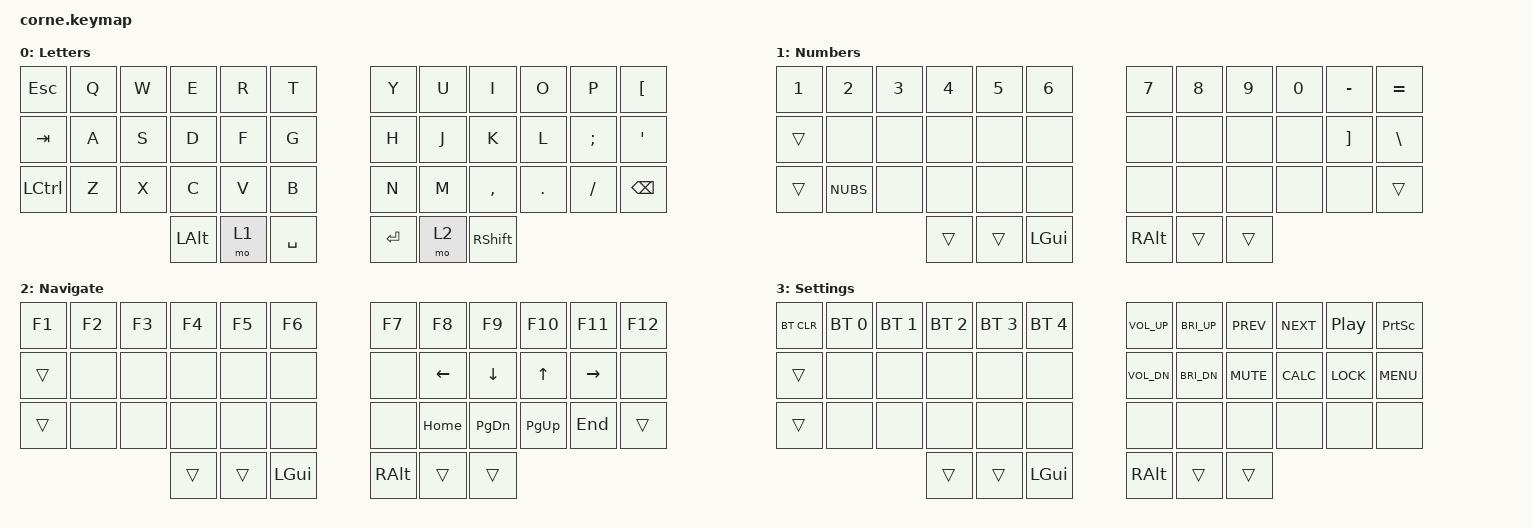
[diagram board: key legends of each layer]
/*
 * Copyright (c) 2020 The ZMK Contributors
 *
 * SPDX-License-Identifier: MIT
 */

#include <behaviors.dtsi>
#include <dt-bindings/zmk/keys.h>
#include <dt-bindings/zmk/bt.h>

/ {
        conditional_layers {
            compatible = "zmk,conditional-layers";
            tri_layer {
                if-layers = <1 2>;
                then-layer = <3>;
            };
        };

        keymap {

                compatible = "zmk,keymap";

                default_layer {
                        display-name = "Letters";
                        bindings = <
   &kp ESC   &kp Q     &kp W     &kp E     &kp R     &kp T     &kp Y     &kp U      &kp I     &kp O     &kp P     &kp LBKT
   &kp TAB   &kp A     &kp S     &kp D     &kp F     &kp G     &kp H     &kp J      &kp K     &kp L     &kp SEMI  &kp SQT
   &kp LCTRL &kp Z     &kp X     &kp C     &kp V     &kp B     &kp N     &kp M      &kp COMMA &kp DOT   &kp FSLH  &kp BSPC
                                 &kp LALT  &mo 1     &kp SPACE &kp RET   &mo 2      &kp RSHIFT
                        >;
                };

                number_functions_layer {
                        display-name = "Numbers";
                        bindings = <
   &kp N1    &kp N2    &kp N3    &kp N4    &kp N5    &kp N6    &kp N7    &kp N8    &kp N9    &kp N0    &kp MINUS &kp EQUAL
   &trans    &none     &none     &none     &none     &none     &none     &none     &none     &none     &kp RBKT  &kp BSLH
   &trans    &kp NUBS  &none     &none     &none     &none     &none     &none     &none     &none     &none     &trans
                                 &trans    &trans    &kp LGUI  &kp RALT  &trans     &trans
                        >;
                };

                navigation_layer {
                        display-name = "Navigate";
                        bindings = <
   &kp F1    &kp F2    &kp F3    &kp F4    &kp F5    &kp F6    &kp F7    &kp F8    &kp F9    &kp F10   &kp F11   &kp F12
   &trans    &none     &none     &none     &none     &none     &none     &kp LEFT  &kp DOWN  &kp UP    &kp RIGHT &none
   &trans    &none     &none     &none     &none     &none     &none     &kp HOME  &kp PG_DN &kp PG_UP &kp END   &trans
                                 &trans    &trans    &kp LGUI  &kp RALT  &trans     &trans
                        >;
                };

                settings_layer {
                        display-name = "Settings";
                        bindings = <
   &bt BT_CLR   &bt BT_SEL 0 &bt BT_SEL 1 &bt BT_SEL 2 &bt BT_SEL 3 &bt BT_SEL 4 &kp C_VOL_UP &kp C_BRI_UP &kp C_PREV   &kp C_NEXT   &kp C_PP     &kp PSCRN
   &trans       &none        &none        &none        &none        &none        &kp C_VOL_DN &kp C_BRI_DN &kp C_MUTE   &kp K_CALC   &kp K_LOCK   &kp C_MENU
   &trans       &none        &none        &none        &none        &none        &none        &none        &none        &none        &none        &none 
                                          &trans       &trans       &kp LGUI     &kp RALT     &trans       &trans
                        >;
                };

        };
};
